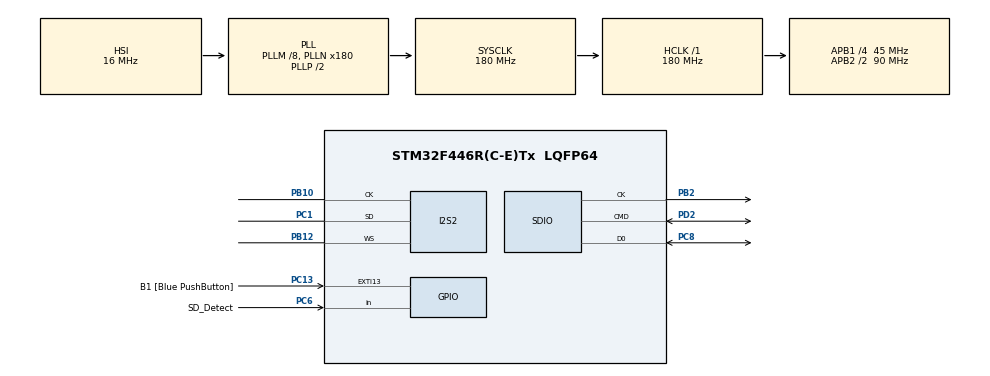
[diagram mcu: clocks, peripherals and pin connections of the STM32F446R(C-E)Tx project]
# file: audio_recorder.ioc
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Dma.Request0=SPI2_RX
Dma.Request1=SDIO_RX
Dma.Request2=SDIO_TX
Dma.SDIO_RX.1.Direction=DMA_PERIPH_TO_MEMORY
Dma.SDIO_RX.1.FIFOMode=DMA_FIFOMODE_ENABLE
Dma.SDIO_RX.1.FIFOThreshold=DMA_FIFO_THRESHOLD_FULL
Dma.SDIO_RX.1.Instance=DMA2_Stream3
Dma.SDIO_RX.1.MemBurst=DMA_MBURST_INC4
Dma.SDIO_RX.1.MemDataAlignment=DMA_MDATAALIGN_WORD
Dma.SDIO_RX.1.MemInc=DMA_MINC_ENABLE
Dma.SDIO_RX.1.Mode=DMA_PFCTRL
Dma.SDIO_RX.1.PeriphBurst=DMA_PBURST_INC4
Dma.SDIO_RX.1.PeriphDataAlignment=DMA_PDATAALIGN_WORD
Dma.SDIO_RX.1.PeriphInc=DMA_PINC_DISABLE
Dma.SDIO_RX.1.Priority=DMA_PRIORITY_LOW
Dma.SDIO_TX.2.Direction=DMA_MEMORY_TO_PERIPH
Dma.SDIO_TX.2.FIFOMode=DMA_FIFOMODE_ENABLE
Dma.SDIO_TX.2.FIFOThreshold=DMA_FIFO_THRESHOLD_FULL
Dma.SDIO_TX.2.Instance=DMA2_Stream6
Dma.SDIO_TX.2.MemBurst=DMA_MBURST_INC4
Dma.SDIO_TX.2.MemDataAlignment=DMA_MDATAALIGN_WORD
Dma.SDIO_TX.2.MemInc=DMA_MINC_ENABLE
Dma.SDIO_TX.2.Mode=DMA_PFCTRL
Dma.SDIO_TX.2.PeriphBurst=DMA_PBURST_INC4
Dma.SDIO_TX.2.PeriphDataAlignment=DMA_PDATAALIGN_WORD
Dma.SDIO_TX.2.PeriphInc=DMA_PINC_DISABLE
Dma.SDIO_TX.2.Priority=DMA_PRIORITY_LOW
Dma.SPI2_RX.0.Direction=DMA_PERIPH_TO_MEMORY
Dma.SPI2_RX.0.FIFOMode=DMA_FIFOMODE_DISABLE
Dma.SPI2_RX.0.Instance=DMA1_Stream3
Dma.SPI2_RX.0.MemDataAlignment=DMA_MDATAALIGN_HALFWORD
Dma.SPI2_RX.0.MemInc=DMA_MINC_ENABLE
Dma.SPI2_RX.0.Mode=DMA_CIRCULAR
Dma.SPI2_RX.0.PeriphDataAlignment=DMA_PDATAALIGN_HALFWORD
Dma.SPI2_RX.0.PeriphInc=DMA_PINC_DISABLE
Dma.SPI2_RX.0.Priority=DMA_PRIORITY_LOW
FATFS.BSP.number=1
FATFS._MAX_SS=4096
FATFS._USE_LFN=3
FATFS0.BSP.STBoard=false
FATFS0.BSP.api=Unknown
FATFS0.BSP.instance=PC6
FATFS0.BSP.ip=GPIO
FATFS0.BSP.mode=Input
FATFS0.BSP.name=Detect_SDIO
FATFS0.BSP.solution=PC6
I2S2.AudioFreq=I2S_AUDIOFREQ_32K
I2S2.DataFormat=I2S_DATAFORMAT_16B_EXTENDED
I2S2.ErrorAudioFreq=1.72 %
I2S2.FullDuplexMode=I2S_FULLDUPLEXMODE_DISABLE
I2S2.Instance=SPI$Index
I2S2.Mode=I2S_MODE_MASTER_RX
I2S2.RealAudioFreq=32.552 KHz
I2S2.VirtualMode=I2S_MODE_MASTER
Mcu.Family=STM32F4
Mcu.Name=STM32F446R(C-E)Tx
Mcu.Package=LQFP64
NVIC.DMA1_Stream3_IRQn=true\:0\:0\:false\:false\:true\:false\:true\:true
NVIC.DMA2_Stream3_IRQn=true\:0\:0\:false\:false\:true\:false\:true\:true
NVIC.DMA2_Stream6_IRQn=true\:0\:0\:false\:false\:true\:false\:true\:true
NVIC.EXTI15_10_IRQn=true\:0\:0\:false\:false\:true\:true\:true\:true
NVIC.PriorityGroup=NVIC_PRIORITYGROUP_4
PA13.Mode=Serial_Wire
PA13.Signal=SYS_JTMS-SWDIO
PA14.Mode=Serial_Wire
PA14.Signal=SYS_JTCK-SWCLK
PB10.Mode=Half_Duplex_Master
PB10.Signal=I2S2_CK
PB12.Mode=Half_Duplex_Master
PB12.Signal=I2S2_WS
PB2.Mode=SD_1_bit
PB2.Signal=SDIO_CK
PC1.Mode=Half_Duplex_Master
PC1.Signal=I2S2_SD
PC13.GPIO_Label=B1 [Blue PushButton]
PC13.Signal=GPXTI13
PC6.GPIO_Label=SD_Detect
PC6.Signal=GPIO_Input
PC8.Mode=SD_1_bit
PC8.Signal=SDIO_D0
PD2.Mode=SD_1_bit
PD2.Signal=SDIO_CMD
ProjectManager.HeapSize=0x200
ProjectManager.StackSize=0x400
ProjectManager.TargetToolchain=STM32CubeIDE
RCC.AHBFreq_Value=180000000
RCC.APB1CLKDivider=RCC_HCLK_DIV4
RCC.APB1Freq_Value=45000000
RCC.APB1TimFreq_Value=90000000
RCC.APB2CLKDivider=RCC_HCLK_DIV2
RCC.APB2Freq_Value=90000000
RCC.APB2TimFreq_Value=180000000
RCC.CortexFreq_Value=180000000
RCC.HCLKFreq_Value=180000000
RCC.PLLI2SM=8
RCC.PLLI2SN=50
RCC.PLLM=8
RCC.PLLN=180
RCC.PLLQ=8
RCC.SYSCLKFreq_VALUE=180000000
RCC.SYSCLKSource=RCC_SYSCLKSOURCE_PLLCLK
RCC.USBFreq_Value=45000000
RCC.VCOOutputFreq_Value=360000000
SDIO.ClockDiv=20
VP_FATFS_VS_SDIO.Mode=SDIO
board=custom

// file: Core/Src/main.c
/* USER CODE BEGIN Header */
/**
  ******************************************************************************
  * @file           : main.c
  * @brief          : Main program body
  ******************************************************************************
  * @attention
  *
  * Copyright (c) 2024 STMicroelectronics.
  * All rights reserved.
  *
  * This software is licensed under terms that can be found in the LICENSE file
  * in the root directory of this software component.
  * If no LICENSE file comes with this software, it is provided AS-IS.
  *
  ******************************************************************************
  */
/* USER CODE END Header */
#include "main.h"
#include "fatfs.h"

/* USER CODE BEGIN Includes */
#include <stdio.h>
#include <stdint.h>
#include "audio_sd.h"

#define DEBOUNCE_DELAY_MS 150

/* USER CODE END Includes */

I2S_HandleTypeDef hi2s2;
DMA_HandleTypeDef hdma_spi2_rx;

SD_HandleTypeDef hsd;
DMA_HandleTypeDef hdma_sdio_rx;
DMA_HandleTypeDef hdma_sdio_tx;

/* USER CODE BEGIN PV */
int16_t data_i2s[WAV_WRITE_SAMPLE_COUNT];
volatile int16_t sample_i2s;
volatile uint8_t button_flag, start_stop_recording;
volatile uint8_t half_i2s;
volatile uint8_t full_i2s;
/* USER CODE END PV */

void SystemClock_Config(void);
static void MX_GPIO_Init(void);
static void MX_DMA_Init(void);
static void MX_I2S2_Init(void);
static void MX_SDIO_SD_Init(void);

int main(void)
{

  /* MCU Configuration--------------------------------------------------------*/

  /* Reset of all peripherals, Initializes the Flash interface and the Systick. */
  HAL_Init();

  /* Configure the system clock */
  SystemClock_Config();

  /* Initialize all configured peripherals */
  MX_GPIO_Init();
  MX_DMA_Init();
  MX_I2S2_Init();
  MX_SDIO_SD_Init();
  MX_FATFS_Init();
  /* USER CODE BEGIN 2 */
  HAL_I2S_DMAStop(&hi2s2);
  HAL_Delay(500);
  sd_card_init();
  /* USER CODE END 2 */

  /* Infinite loop */
  /* USER CODE BEGIN WHILE */
  while (1)
  {
	  if(button_flag)
	  {

		  if(start_stop_recording)
	  	  {
			  HAL_I2S_DMAStop(&hi2s2);
			  start_stop_recording = 0;
	  		  stop_recording();
	  		  half_i2s = 0;
	  		  full_i2s = 0;
	  		  printf("stop recording \n");
	  	  }
	  	  else
	  	  {
	  		  start_stop_recording = 1;
	  		  start_recording(I2S_AUDIOFREQ_32K);
	  		  printf("start_recording %d and %d\n", half_i2s, full_i2s);
	  		  HAL_I2S_Receive_DMA(&hi2s2, (uint16_t *)data_i2s, sizeof(data_i2s) / 2);
	  	  }
	  	  button_flag = 0;
	  }
    /* USER CODE END WHILE */

    /* USER CODE BEGIN 3 */

	  if(start_stop_recording == 1 && half_i2s == 1)
	  {
		  write2wav_file(((uint8_t*)data_i2s),	 WAV_WRITE_SAMPLE_COUNT);
	  	  half_i2s = 0;
	  }

	  if(start_stop_recording == 1 && full_i2s == 1)
	  {
		  write2wav_file(((uint8_t*)data_i2s) + WAV_WRITE_SAMPLE_COUNT, WAV_WRITE_SAMPLE_COUNT);
	  	  full_i2s = 0;
	  }

  }
  /* USER CODE END 3 */
}

void SystemClock_Config(void)
{
  RCC_OscInitTypeDef RCC_OscInitStruct = {0};
  RCC_ClkInitTypeDef RCC_ClkInitStruct = {0};

  /** Configure the main internal regulator output voltage
  */
  __HAL_RCC_PWR_CLK_ENABLE();
  __HAL_PWR_VOLTAGESCALING_CONFIG(PWR_REGULATOR_VOLTAGE_SCALE1);

  /** Initializes the RCC Oscillators according to the specified parameters
  * in the RCC_OscInitTypeDef structure.
  */
  RCC_OscInitStruct.OscillatorType = RCC_OSCILLATORTYPE_HSI;
  RCC_OscInitStruct.HSIState = RCC_HSI_ON;
  RCC_OscInitStruct.HSICalibrationValue = RCC_HSICALIBRATION_DEFAULT;
  RCC_OscInitStruct.PLL.PLLState = RCC_PLL_ON;
  RCC_OscInitStruct.PLL.PLLSource = RCC_PLLSOURCE_HSI;
  RCC_OscInitStruct.PLL.PLLM = 8;
  RCC_OscInitStruct.PLL.PLLN = 180;
  RCC_OscInitStruct.PLL.PLLP = RCC_PLLP_DIV2;
  RCC_OscInitStruct.PLL.PLLQ = 8;
  RCC_OscInitStruct.PLL.PLLR = 2;
  if (HAL_RCC_OscConfig(&RCC_OscInitStruct) != HAL_OK)
  {
    Error_Handler();
  }

  /** Activate the Over-Drive mode
  */
  if (HAL_PWREx_EnableOverDrive() != HAL_OK)
  {
    Error_Handler();
  }

  /** Initializes the CPU, AHB and APB buses clocks
  */
  RCC_ClkInitStruct.ClockType = RCC_CLOCKTYPE_HCLK|RCC_CLOCKTYPE_SYSCLK
                              |RCC_CLOCKTYPE_PCLK1|RCC_CLOCKTYPE_PCLK2;
  RCC_ClkInitStruct.SYSCLKSource = RCC_SYSCLKSOURCE_PLLCLK;
  RCC_ClkInitStruct.AHBCLKDivider = RCC_SYSCLK_DIV1;
  RCC_ClkInitStruct.APB1CLKDivider = RCC_HCLK_DIV4;
  RCC_ClkInitStruct.APB2CLKDivider = RCC_HCLK_DIV2;

  if (HAL_RCC_ClockConfig(&RCC_ClkInitStruct, FLASH_LATENCY_5) != HAL_OK)
  {
    Error_Handler();
  }
}

static void MX_I2S2_Init(void)
{

  hi2s2.Instance = SPI2;
  hi2s2.Init.Mode = I2S_MODE_MASTER_RX;
  hi2s2.Init.Standard = I2S_STANDARD_PHILIPS;
  hi2s2.Init.DataFormat = I2S_DATAFORMAT_16B_EXTENDED;
  hi2s2.Init.MCLKOutput = I2S_MCLKOUTPUT_DISABLE;
  hi2s2.Init.AudioFreq = I2S_AUDIOFREQ_32K;
  hi2s2.Init.CPOL = I2S_CPOL_LOW;
  hi2s2.Init.ClockSource = I2S_CLOCK_PLL;
  hi2s2.Init.FullDuplexMode = I2S_FULLDUPLEXMODE_DISABLE;
  if (HAL_I2S_Init(&hi2s2) != HAL_OK)
  {
    Error_Handler();
  }

}

static void MX_SDIO_SD_Init(void)
{

  hsd.Instance = SDIO;
  hsd.Init.ClockEdge = SDIO_CLOCK_EDGE_RISING;
  hsd.Init.ClockBypass = SDIO_CLOCK_BYPASS_DISABLE;
  hsd.Init.ClockPowerSave = SDIO_CLOCK_POWER_SAVE_DISABLE;
  hsd.Init.BusWide = SDIO_BUS_WIDE_1B;
  hsd.Init.HardwareFlowControl = SDIO_HARDWARE_FLOW_CONTROL_DISABLE;
  hsd.Init.ClockDiv = 20;

}

static void MX_DMA_Init(void)
{

  /* DMA controller clock enable */
  __HAL_RCC_DMA1_CLK_ENABLE();
  __HAL_RCC_DMA2_CLK_ENABLE();

  /* DMA interrupt init */
  /* DMA1_Stream3_IRQn interrupt configuration */
  HAL_NVIC_SetPriority(DMA1_Stream3_IRQn, 0, 0);
  HAL_NVIC_EnableIRQ(DMA1_Stream3_IRQn);
  /* DMA2_Stream3_IRQn interrupt configuration */
  HAL_NVIC_SetPriority(DMA2_Stream3_IRQn, 0, 0);
  HAL_NVIC_EnableIRQ(DMA2_Stream3_IRQn);
  /* DMA2_Stream6_IRQn interrupt configuration */
  HAL_NVIC_SetPriority(DMA2_Stream6_IRQn, 0, 0);
  HAL_NVIC_EnableIRQ(DMA2_Stream6_IRQn);

}

static void MX_GPIO_Init(void)
{
  GPIO_InitTypeDef GPIO_InitStruct = {0};

  /* GPIO Ports Clock Enable */
  __HAL_RCC_GPIOC_CLK_ENABLE();
  __HAL_RCC_GPIOB_CLK_ENABLE();
  __HAL_RCC_GPIOA_CLK_ENABLE();
  __HAL_RCC_GPIOD_CLK_ENABLE();

  /*Configure GPIO pin : B1_Pin */
  GPIO_InitStruct.Pin = B1_Pin;
  GPIO_InitStruct.Mode = GPIO_MODE_IT_RISING;
  GPIO_InitStruct.Pull = GPIO_NOPULL;
  HAL_GPIO_Init(B1_GPIO_Port, &GPIO_InitStruct);

  /*Configure GPIO pin : SD_Detect_Pin */
  GPIO_InitStruct.Pin = SD_Detect_Pin;
  GPIO_InitStruct.Mode = GPIO_MODE_INPUT;
  GPIO_InitStruct.Pull = GPIO_NOPULL;
  HAL_GPIO_Init(SD_Detect_GPIO_Port, &GPIO_InitStruct);

  /* EXTI interrupt init*/
  HAL_NVIC_SetPriority(EXTI15_10_IRQn, 0, 0);
  HAL_NVIC_EnableIRQ(EXTI15_10_IRQn);

}

/* USER CODE BEGIN 4 */
int _write(int file, char *ptr, int len)
{
  (void)file;
  int DataIdx;

  for (DataIdx = 0; DataIdx < len; DataIdx++)
  {
    ITM_SendChar(*ptr++);
  }
  return len;
}

void HAL_I2S_RxCpltCallback(I2S_HandleTypeDef *hi2s)
{

	full_i2s = 1;
}

void HAL_I2S_RxHalfCpltCallback(I2S_HandleTypeDef *hi2s)
{
	sample_i2s = data_i2s[0];
	half_i2s = 1;
}

void HAL_GPIO_EXTI_Callback(uint16_t GPIO_Pin)
{
    static uint32_t last_tick = 0;  // Store last tick value

    if (GPIO_Pin == B1_Pin)  // Check if the interrupt is for your button pin
    {
        uint32_t current_tick = HAL_GetTick();  // Get current tick value
        if ((current_tick - last_tick) > DEBOUNCE_DELAY_MS)  // Check debounce delay
        {
            button_flag = 1;  // Set the flag for button press
            last_tick = current_tick;  // Update last tick time
        }
    }
}
/* USER CODE END 4 */

void Error_Handler(void)
{
  __disable_irq();
  while (1)
  {
  }
}
